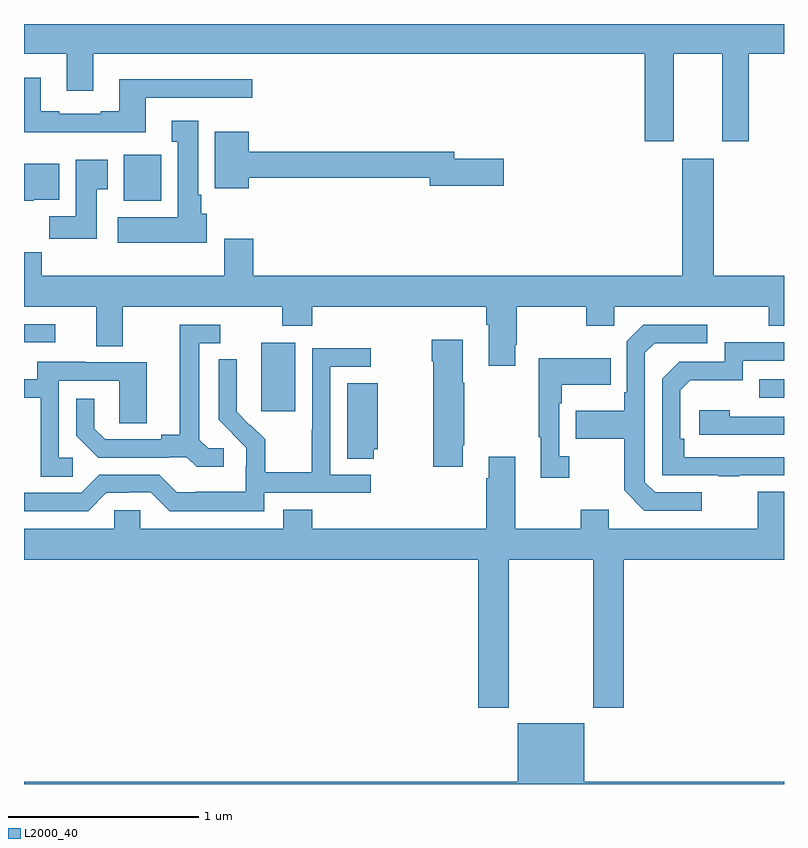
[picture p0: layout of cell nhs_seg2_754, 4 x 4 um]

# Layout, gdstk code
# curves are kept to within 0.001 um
import gdstk
lib = gdstk.Library(unit=1e-6, precision=1e-09)
def R(c, l, rs):  # rectangles x0, y0, x1, y1
    for r in rs: c.add(gdstk.rectangle(r[:2], r[2:], *l))
def P(c, l, *ps):  # polygons
    for p in ps: c.add(gdstk.Polygon(p, *l))
L2000_40 = (2000, 40)

nhs_seg2_754 = lib.new_cell('nhs_seg2_754')
R(nhs_seg2_754, L2000_40, [(150.248,637.761,150.427,638.122), (152.869,637.833,153,637.929), (149,638.124,149.164,638.22), (149.525,638.87,149.722,639.112)])
P(nhs_seg2_754, L2000_40, [(152.419,639.644),(152.675,639.644),(152.675,639.183),(152.815,639.183),(152.815,639.644),(153,639.644),(153,639.8),(149,639.8),(149,639.644),(149.225,639.644),(149.225,639.45),(149.365,639.45),(149.365,639.644),(152.267,639.644),(152.267,639.183),(152.419,639.183)],
  [(149.641,639.411),(150.202,639.411),(150.202,639.508),(149.501,639.508),(149.501,639.34),(149.405,639.34),(149.405,639.327),(149.185,639.327),(149.185,639.34),(149.089,639.34),(149.089,639.517),(149,639.517),(149,639.23),(149.641,639.23)],
  [(149.962,638.802),(149.932,638.802),(149.932,638.902),(149.917,638.902),(149.917,639.292),(149.777,639.292),(149.777,639.179),(149.81,639.179),(149.81,638.782),(149.493,638.782),(149.493,638.648),(149.962,638.648)],
  [(150.184,638.992),(151.136,638.992),(151.136,638.95),(151.525,638.95),(151.525,639.092),(151.264,639.092),(151.264,639.128),(150.184,639.128),(150.184,639.232),(150.005,639.232),(150.005,638.936),(150.184,638.936)],
  [(151.585,638.113),(151.593,638.113),(151.593,638.312),(151.96,638.312),(151.96,638.213),(152.106,638.213),(152.106,638.312),(152.92,638.312),(152.92,638.213),(153,638.213),(153,638.476),(152.629,638.476),(152.629,639.091),(152.465,639.091),(152.465,638.476),(150.206,638.476),(150.206,638.671),(150.053,638.671),(150.053,638.476),(149.093,638.476),(149.093,638.6),(149,638.6),(149,638.312),(149.381,638.312),(149.381,638.104),(149.521,638.104),(149.521,638.312),(150.358,638.312),(150.358,638.213),(150.518,638.213),(150.518,638.312),(151.433,638.312),(151.433,638.216),(151.445,638.216),(151.445,638.001),(151.585,638.001)],
  [(149.383,638.929),(149.44,638.929),(149.44,639.085),(149.273,639.085),(149.273,638.788),(149.134,638.788),(149.134,638.67),(149.383,638.67)],
  [(149.052,638.876),(149.185,638.876),(149.185,639.064),(149,639.064),(149,638.87),(149.052,638.87)],
  [(150.052,637.566),(149.97,637.566),(149.923,637.613),(149.923,638.121),(150.034,638.121),(150.034,638.217),(149.819,638.217),(149.819,637.637),(149.723,637.637),(149.723,637.614),(149.428,637.614),(149.371,637.671),(149.371,637.828),(149.274,637.828),(149.274,637.634),(149.39,637.518),(149.762,637.518),(149.762,637.521),(149.856,637.521),(149.908,637.469),(150.052,637.469)],
  [(152.566,637.335),(152.322,637.335),(152.268,637.389),(152.268,638.07),(152.319,638.121),(152.596,638.121),(152.596,638.217),(152.259,638.217),(152.172,638.13),(152.172,637.861),(152.16,637.861),(152.16,637.765),(151.903,637.765),(151.903,637.618),(152.16,637.618),(152.16,637.345),(152.265,637.239),(152.566,637.239)],
  [(151.309,637.582),(151.317,637.582),(151.317,637.913),(151.309,637.913),(151.309,638.137),(151.147,638.137),(151.147,638.024),(151.154,638.024),(151.154,637.47),(151.309,637.47)],
  [(152.765,637.425),(153,637.425),(153,637.521),(152.474,637.521),(152.474,637.618),(152.454,637.618),(152.454,637.872),(152.507,637.925),(152.784,637.925),(152.784,638.028),(153,638.028),(153,638.124),(152.688,638.124),(152.688,638.022),(152.448,638.022),(152.358,637.932),(152.358,637.425),(152.653,637.425),(152.653,637.42),(152.765,637.42)],
  [(150.264,637.332),(150.826,637.332),(150.826,637.428),(150.612,637.428),(150.612,637.995),(150.826,637.995),(150.826,638.094),(150.516,638.094),(150.516,637.664),(150.514,637.664),(150.514,637.441),(150.269,637.441),(150.269,637.615),(150.192,637.692),(150.189,637.689),(150.119,637.76),(150.12,638.036),(150.024,638.036),(150.024,637.718),(150.17,637.57),(150.17,637.473),(150.168,637.473),(150.168,637.339),(149.905,637.339),(149.905,637.335),(149.805,637.335),(149.712,637.428),(149.397,637.428),(149.301,637.332),(149,637.332),(149,637.236),(149.337,637.236),(149.433,637.332),(149.552,637.332),(149.552,637.335),(149.667,637.335),(149.767,637.235),(150.264,637.235)],
  [(151.87,637.526),(151.818,637.526),(151.818,637.805),(151.831,637.805),(151.831,637.901),(152.087,637.901),(152.087,638.041),(151.71,638.041),(151.71,637.625),(151.721,637.625),(151.721,637.413),(151.87,637.413)],
  [(149.257,637.518),(149.184,637.518),(149.184,637.923),(149.502,637.923),(149.502,637.699),(149.647,637.699),(149.647,638.019),(149.323,638.019),(149.323,638.023),(149.069,638.023),(149.069,637.929),(149,637.929),(149,637.833),(149.088,637.833),(149.088,637.417),(149.257,637.417)],
  [(150.84,637.562),(150.862,637.562),(150.862,637.91),(150.701,637.91),(150.701,637.513),(150.84,637.513)],
  [(153,637.734),(152.714,637.734),(152.714,637.768),(152.553,637.768),(152.553,637.638),(153,637.638)],
  [(151.551,636.98),(151.996,636.98),(151.996,636.201),(152.156,636.201),(152.156,636.98),(153,636.98),(153,637.339),(152.861,637.339),(152.861,637.144),(152.077,637.144),(152.077,637.243),(151.93,637.243),(151.93,637.144),(151.585,637.144),(151.585,637.522),(151.445,637.522),(151.445,637.409),(151.433,637.409),(151.433,637.144),(150.518,637.144),(150.518,637.243),(150.365,637.243),(150.365,637.144),(149.613,637.144),(149.613,637.242),(149.475,637.242),(149.475,637.144),(149,637.144),(149,636.98),(151.391,636.98),(151.391,636.201),(151.551,636.201)],
  [(153,635.812),(151.948,635.812),(151.948,636.121),(151.598,636.121),(151.598,635.812),(149,635.812),(149,635.8),(153,635.8)])

lib.write_gds('nhs_seg2_754.gds')
